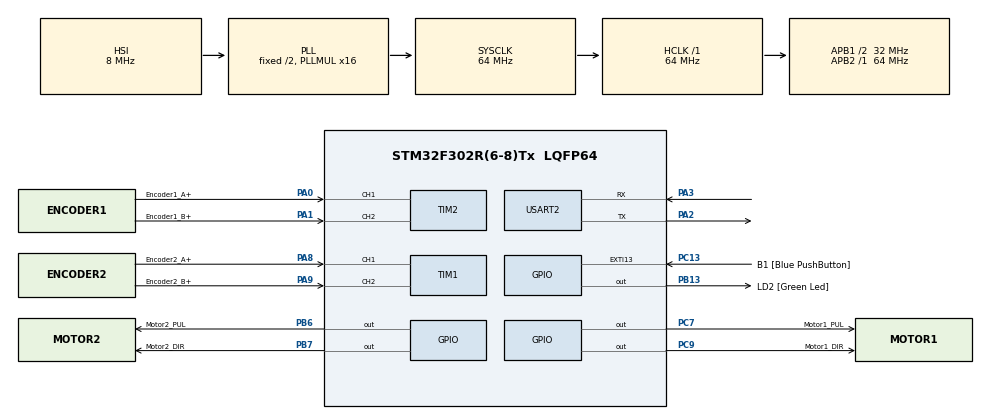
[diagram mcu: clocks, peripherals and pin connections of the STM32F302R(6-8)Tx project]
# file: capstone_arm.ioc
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Mcu.Family=STM32F3
Mcu.Name=STM32F302R(6-8)Tx
Mcu.Package=LQFP64
NVIC.PriorityGroup=NVIC_PRIORITYGROUP_0
NVIC.USART2_IRQn=true\:0\:0\:false\:false\:true\:true\:true\:true
PA0.GPIO_Label=Encoder1_A+
PA0.Signal=S_TIM2_CH1_ETR
PA1.GPIO_Label=Encoder1_B+
PA1.Signal=S_TIM2_CH2
PA13.GPIO_Label=TMS
PA13.Mode=Serial_Wire
PA13.Signal=SYS_JTMS-SWDIO
PA14.GPIO_Label=TCK
PA14.Mode=Serial_Wire
PA14.Signal=SYS_JTCK-SWCLK
PA2.Mode=Asynchronous
PA2.Signal=USART2_TX
PA3.Mode=Asynchronous
PA3.Signal=USART2_RX
PA8.GPIO_Label=Encoder2_A+
PA8.Signal=S_TIM1_CH1
PA9.GPIO_Label=Encoder2_B+
PA9.Signal=S_TIM1_CH2
PB13.GPIO_Label=LD2 [Green Led]
PB13.Signal=GPIO_Output
PB3.GPIO_Label=SWO
PB3.Mode=Trace_Asynchronous_SW
PB3.Signal=SYS_JTDO-TRACESWO
PB6.GPIO_Label=Motor2_PUL
PB6.Signal=GPIO_Output
PB7.GPIO_Label=Motor2_DIR
PB7.Signal=GPIO_Output
PC13.GPIO_Label=B1 [Blue PushButton]
PC13.GPIO_ModeDefaultEXTI=GPIO_MODE_IT_FALLING
PC13.Signal=GPXTI13
PC14\ -\ OSC32_IN.Mode=LSE-External-Oscillator
PC14\ -\ OSC32_IN.Signal=RCC_OSC32_IN
PC15\ -\ OSC32_OUT.Mode=LSE-External-Oscillator
PC15\ -\ OSC32_OUT.Signal=RCC_OSC32_OUT
PC7.GPIO_Label=Motor1_PUL
PC7.Signal=GPIO_Output
PC9.GPIO_Label=Motor1_DIR
PC9.Signal=GPIO_Output
PF0-OSC_IN.Mode=HSE-External-Clock-Source
PF0-OSC_IN.Signal=RCC_OSC_IN
PF1-OSC_OUT.Signal=RCC_OSC_OUT
ProjectManager.HeapSize=0x200
ProjectManager.StackSize=0x400
ProjectManager.TargetToolchain=STM32CubeIDE
RCC.AHBFreq_Value=64000000
RCC.APB1CLKDivider=RCC_HCLK_DIV2
RCC.APB1Freq_Value=32000000
RCC.APB1TimFreq_Value=64000000
RCC.APB2Freq_Value=64000000
RCC.APB2TimFreq_Value=64000000
RCC.CortexFreq_Value=64000000
RCC.HCLKFreq_Value=64000000
RCC.HSE_VALUE=8000000
RCC.HSI_VALUE=8000000
RCC.PLLM=8
RCC.PLLMUL=RCC_PLL_MUL16
RCC.PLLN=336
RCC.PLLP=RCC_PLLP_DIV4
RCC.PLLQ=7
RCC.RCC_PLLsource_Clock_Source_FROM_HSE=RCC_HSE_PREDIV_DIV2
RCC.SYSCLKFreq_VALUE=64000000
RCC.SYSCLKSourceVirtual=RCC_SYSCLKSOURCE_PLLCLK
RCC.USBFreq_Value=64000000
SH.S_TIM1_CH1.0=TIM1_CH1,Encoder_Interface
SH.S_TIM1_CH2.0=TIM1_CH2,Encoder_Interface
SH.S_TIM2_CH1_ETR.0=TIM2_CH1,Encoder_Interface
SH.S_TIM2_CH2.0=TIM2_CH2,Encoder_Interface
USART2.VirtualMode-Asynchronous=VM_ASYNC
board=NUCLEO-F302R8

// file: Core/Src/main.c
/* USER CODE BEGIN Header */
/**
  ******************************************************************************
  * @file           : main.c
  * @brief          : Main program body
  ******************************************************************************
  * @attention
  *
  * This firmware drives the stepper motor and reads the encoder via TIM2.
  *
  ******************************************************************************
  */
/* USER CODE END Header */
#include "main.h"

/* USER CODE BEGIN Includes */
#include <stdio.h>
#include <stdlib.h>
#include <string.h>
#include <math.h>
#include <stdbool.h>
/* USER CODE END Includes */

/* USER CODE BEGIN PTD */
#define CMD_QUEUE_SIZE 24
#define CMD_MAX_LENGTH 64
#define ENCODER_CPR 4000.0f  // Encoder: 1000 PPR * 4 (quadrature)
#define GEAR_RATIO 10.0f
#define COUNTS_PER_JOINT_REV (ENCODER_CPR * GEAR_RATIO)  // 4000 × 10 = 40000
#define DEGREES_PER_TURN 360.0f

typedef struct {
    char commands[CMD_QUEUE_SIZE][CMD_MAX_LENGTH];
    volatile int head;
    volatile int tail;
} CommandQueue;
/* USER CODE END PTD */

/* USER CODE BEGIN PD */
// set to 400 steps currently on motor driver, gear ratio is 20
#define STEPS_PER_REV 400 * 20
#define STEPS_PER_DEGREE (STEPS_PER_REV / 360.0f)
#define MIN_STEP_INTERVAL_US 10
#define MAX_STEP_INTERVAL_US 100000

/* USER CODE END PD */

/* USER CODE BEGIN PM */
// None
/* USER CODE END PM */

TIM_HandleTypeDef htim1;
TIM_HandleTypeDef htim2;

UART_HandleTypeDef huart2;

/* USER CODE BEGIN PV */
static int32_t motor1_stepsRemaining = 0;
static int32_t motor2_stepsRemaining = 0;

static float motor1_speedFactor = 1.0f;
static float motor2_speedFactor = 1.0f;

static uint32_t motor1_nextStepTime_us = 0;
static uint32_t motor2_nextStepTime_us = 0;

static GPIO_PinState motor1_direction = GPIO_PIN_SET;
static GPIO_PinState motor2_direction = GPIO_PIN_SET;

static bool motor1_resetting = false;
static bool motor2_resetting = false;

uint8_t rxChar;
static char commandBuffer[CMD_MAX_LENGTH];
static uint16_t commandIndex = 0;
CommandQueue cmdQueue = { .head = 0, .tail = 0 };
/* USER CODE END PV */

void SystemClock_Config(void);
static void MX_GPIO_Init(void);
static void MX_TIM2_Init(void);
static void MX_TIM1_Init(void);
static void MX_USART2_UART_Init(void);
/* USER CODE BEGIN PFP */
void DWT_Init(void);
static inline void delay_us(uint32_t us);
void readLine(char *line, size_t maxLen);
void parseCommand(const char *line);
int32_t getEncoderPos(uint8_t motorNum);
void doMotorStepping(void);

int32_t  getEncoderPos(uint8_t motorNum);
float    calculateAngle(int32_t counts);
void     parseCommand(const char *line);
void     doMotorStepping(void);
/* USER CODE END PFP */

/* USER CODE BEGIN 0 */
/**
  * @brief  Initialize the DWT cycle counter for microsecond delays.
  */
void DWT_Init(void)
{
  if (!(CoreDebug->DEMCR & CoreDebug_DEMCR_TRCENA_Msk))
  {
    CoreDebug->DEMCR |= CoreDebug_DEMCR_TRCENA_Msk;
  }
  DWT->CYCCNT = 0;
  DWT->CTRL |= DWT_CTRL_CYCCNTENA_Msk;
}

// BROKEN USING HAL_DELAY() INSTEAD FIX THIS IF NECESSARY
///**
//  * @brief  Provides a delay (in microseconds) using the DWT cycle counter.
//  * @param  us: Delay in microseconds.
//  */
void delay_us(uint32_t us)
{
    uint32_t start = DWT->CYCCNT;
    uint32_t ticks = us * (SystemCoreClock / 1000000);
    while ((DWT->CYCCNT - start) < ticks);
}

/**
 * @brief Get the current time in microseconds using DWT.
 * @return Current time in microseconds.
 */
uint32_t get_micros(void)
{
    return DWT->CYCCNT / (SystemCoreClock / 1000000);
}

int isQueueEmpty(CommandQueue *q) {
    return (q->head == q->tail);
}

int isQueueFull(CommandQueue *q) {
    return (((q->tail + 1) % CMD_QUEUE_SIZE) == q->head);
}

int flushQueue(CommandQueue *q)
{
    q->head = 0;
    q->tail = 0;
    return 0;
}

int enqueueCommand(CommandQueue *q, const char *cmd) {
    if (isQueueFull(q)) {
        return -1;
    }
    strncpy(q->commands[q->tail], cmd, CMD_MAX_LENGTH - 1);
    q->commands[q->tail][CMD_MAX_LENGTH - 1] = '\0';
    q->tail = (q->tail + 1) % CMD_QUEUE_SIZE;
    return 0;
}

int dequeueCommand(CommandQueue *q, char *cmd, size_t maxLen) {
    if (isQueueEmpty(q)) {
        return -1;
    }
    strncpy(cmd, q->commands[q->head], maxLen - 1);
    cmd[maxLen - 1] = '\0';
    q->head = (q->head + 1) % CMD_QUEUE_SIZE;
    return 0;
}

void HAL_UART_RxCpltCallback(UART_HandleTypeDef *huart)
{
    if (huart->Instance == USART2)
    {
        if ((rxChar == '\n') || (rxChar == '\r'))
        {
            commandBuffer[commandIndex] = '\0';
            if (commandIndex > 0)
            {
                if (enqueueCommand(&cmdQueue, commandBuffer) != 0)
                {
                    // TODO: handle full queue
                }
            }
            commandIndex = 0;
        }
        else
        {
            if (commandIndex < CMD_MAX_LENGTH - 1)
            {
                commandBuffer[commandIndex++] = rxChar;
            }
        }
        HAL_UART_Receive_IT(&huart2, &rxChar, 1);
    }
}

int main(void)
{
  HAL_Init();

  SystemClock_Config();
  DWT_Init();

  MX_GPIO_Init();
  MX_TIM2_Init();
  MX_TIM1_Init();
  MX_USART2_UART_Init();

  HAL_TIM_Encoder_Start(&htim2, TIM_CHANNEL_ALL);
  HAL_TIM_Encoder_Start(&htim1, TIM_CHANNEL_ALL);
  HAL_UART_Receive_IT(&huart2, &rxChar, 1);

  const char *haro = "\n###################################################\n*********** HELLO JOAQUIN, WELCOME BACK ***********\n###################################################\n";
  HAL_UART_Transmit(&huart2, (uint8_t*)haro, strlen(haro), 100);
  const char *initMsg = "(+) initialized, waiting for commands...\n";
  HAL_UART_Transmit(&huart2, (uint8_t*)initMsg, strlen(initMsg), 100);

  while (1)
  {
	char cmd[CMD_MAX_LENGTH];
	if (dequeueCommand(&cmdQueue, cmd, sizeof(cmd)) == 0) {
		char echoMsg[80];
		sprintf(echoMsg, "Received command: %s\n", cmd);
		HAL_UART_Transmit(&huart2, (uint8_t*)echoMsg, strlen(echoMsg), 100);
		parseCommand(cmd);
	}

	doMotorStepping();
    HAL_Delay(1);
  }
}

int32_t getEncoderPos(uint8_t motorNum)
{
    if (motorNum == 1)
        return (int32_t)__HAL_TIM_GET_COUNTER(&htim2);
    else if (motorNum == 2)
        return (int32_t)__HAL_TIM_GET_COUNTER(&htim1);
    return 0;
}

float calculateAngle(int32_t counts)
{
    float angle = ((float)counts / COUNTS_PER_JOINT_REV) * DEGREES_PER_TURN;
    if (angle >  180.0f) angle -= 360.0f;
    if (angle < -180.0f) angle += 360.0f;
    return angle;
}

void doMotorStepping(void)
{
	uint32_t now_us = get_micros();

    if (motor1_resetting)
    {
        int32_t pos = getEncoderPos(1);
        if (pos == 0)
        {
            motor1_resetting = false;
        }
        else if (now_us >= motor1_nextStepTime_us)
        {
            GPIO_PinState dir = (pos > 0) ? GPIO_PIN_RESET : GPIO_PIN_SET;
            HAL_GPIO_WritePin(Motor1_DIR_GPIO_Port, Motor1_DIR_Pin, dir);
            HAL_GPIO_WritePin(Motor1_PUL_GPIO_Port, Motor1_PUL_Pin, GPIO_PIN_SET);
            delay_us(10);  // 10 us pulse width
            HAL_GPIO_WritePin(Motor1_PUL_GPIO_Port, Motor1_PUL_Pin, GPIO_PIN_RESET);

            uint32_t interval_us = MAX_STEP_INTERVAL_US - (uint32_t)(motor1_speedFactor * (MAX_STEP_INTERVAL_US - MIN_STEP_INTERVAL_US));
            if (interval_us < MIN_STEP_INTERVAL_US) interval_us = MIN_STEP_INTERVAL_US;
            motor1_nextStepTime_us = now_us + interval_us;
        }
    }
    else if (motor1_stepsRemaining > 0 && now_us >= motor1_nextStepTime_us)
    {
        HAL_GPIO_WritePin(Motor1_DIR_GPIO_Port, Motor1_DIR_Pin, motor1_direction);
        HAL_GPIO_WritePin(Motor1_PUL_GPIO_Port, Motor1_PUL_Pin, GPIO_PIN_SET);
        delay_us(10);
        HAL_GPIO_WritePin(Motor1_PUL_GPIO_Port, Motor1_PUL_Pin, GPIO_PIN_RESET);

        motor1_stepsRemaining--;
        uint32_t interval_us = MAX_STEP_INTERVAL_US - (uint32_t)(motor1_speedFactor * (MAX_STEP_INTERVAL_US - MIN_STEP_INTERVAL_US));
        if (interval_us < MIN_STEP_INTERVAL_US) interval_us = MIN_STEP_INTERVAL_US;
        motor1_nextStepTime_us = now_us + interval_us;
    }

    if (motor2_resetting)
    {
        int32_t pos = getEncoderPos(2);
        if (pos == 0)
        {
            motor2_resetting = false;
        }
        else if (now_us >= motor2_nextStepTime_us)
        {
            GPIO_PinState dir = (pos > 0) ? GPIO_PIN_RESET : GPIO_PIN_SET;
            HAL_GPIO_WritePin(Motor2_DIR_GPIO_Port, Motor2_DIR_Pin, dir);
            HAL_GPIO_WritePin(Motor2_PUL_GPIO_Port, Motor2_PUL_Pin, GPIO_PIN_SET);
            delay_us(10);
            HAL_GPIO_WritePin(Motor2_PUL_GPIO_Port, Motor2_PUL_Pin, GPIO_PIN_RESET);

            uint32_t interval_us = MAX_STEP_INTERVAL_US - (uint32_t)(motor2_speedFactor * (MAX_STEP_INTERVAL_US - MIN_STEP_INTERVAL_US));
            if (interval_us < MIN_STEP_INTERVAL_US) interval_us = MIN_STEP_INTERVAL_US;
            motor2_nextStepTime_us = now_us + interval_us;
        }
    }
    else if (motor2_stepsRemaining > 0 && now_us >= motor2_nextStepTime_us)
    {
        HAL_GPIO_WritePin(Motor2_DIR_GPIO_Port, Motor2_DIR_Pin, motor2_direction);
        HAL_GPIO_WritePin(Motor2_PUL_GPIO_Port, Motor2_PUL_Pin, GPIO_PIN_SET);
        delay_us(10);
        HAL_GPIO_WritePin(Motor2_PUL_GPIO_Port, Motor2_PUL_Pin, GPIO_PIN_RESET);

        motor2_stepsRemaining--;
        uint32_t interval_us = MAX_STEP_INTERVAL_US - (uint32_t)(motor2_speedFactor * (MAX_STEP_INTERVAL_US - MIN_STEP_INTERVAL_US));
        if (interval_us < MIN_STEP_INTERVAL_US) interval_us = MIN_STEP_INTERVAL_US;
        motor2_nextStepTime_us = now_us + interval_us;
    }
}

void parseCommand(const char *line)
{
    char resp[80];
    // Combined form: D:M1:100:1.0;M2:200:0.5
    if (line[0]=='D' && line[1]==':')
    {
        char buf[CMD_MAX_LENGTH];
        strncpy(buf, line+2, CMD_MAX_LENGTH-1);
        buf[CMD_MAX_LENGTH-1] = '\0';
        char *tok = strtok(buf, ";");
        while (tok) {
            parseCommand(tok);
            tok = strtok(NULL, ";");
        }
        return;
    }
    else if (line[0] == 'M')
    {
        uint8_t motorNum = line[1] - '0';

        char *colon1 = strchr(line, ':');
        if (!colon1)
        {
            const char *err = "ERR: no colon found\n";
            HAL_UART_Transmit(&huart2, (uint8_t*)err, strlen(err), 100);
            return;
        }
        char *colon2 = strchr(colon1 + 1, ':');
        if (!colon2)
        {
            const char *err = "ERR: second colon not found\n";
            HAL_UART_Transmit(&huart2, (uint8_t*)err, strlen(err), 100);
            return;
        }

        int32_t stepsInput = strtol(colon1 + 1, NULL, 10);
        float speedVal = strtof(colon2 + 1, NULL);

        if (speedVal > 1.0f) speedVal = 1.0f;
        if (speedVal < 0.0f) speedVal = 0.0f;

        GPIO_PinState dir = (stepsInput >= 0) ? GPIO_PIN_SET : GPIO_PIN_RESET;
        int32_t absSteps = (stepsInput >= 0) ? stepsInput : -stepsInput;
        float speedFactor = fabsf(speedVal);

        if (motorNum == 1)
        {
            motor1_stepsRemaining = absSteps;
            motor1_direction = dir;
            motor1_speedFactor = speedFactor;
            sprintf(resp, "Command: M1 => %ld steps, dir=%s, speed=%.2f\n",
                    (long)absSteps, (dir == GPIO_PIN_SET) ? "fwd" : "rev", speedFactor);
            HAL_UART_Transmit(&huart2, (uint8_t*)resp, strlen(resp), 100);
        }
        else if (motorNum == 2)
        {
            motor2_stepsRemaining = absSteps;
            motor2_direction = dir;
            motor2_speedFactor = speedFactor;
            sprintf(resp, "Command: M2 => %ld steps, dir=%s, speed=%.2f\n",
                    (long)absSteps, (dir == GPIO_PIN_SET) ? "fwd" : "rev", speedFactor);
            HAL_UART_Transmit(&huart2, (uint8_t*)resp, strlen(resp), 100);
        }
        else
        {
            const char *err2 = "ERR: motorNum invalid\n";
            HAL_UART_Transmit(&huart2, (uint8_t*)err2, strlen(err2), 100);
        }
    }
    else if (line[0] == 'H')
    {
        flushQueue(&cmdQueue);
        motor1_stepsRemaining = 0;
        motor2_stepsRemaining = 0;
        motor1_resetting = false;
        motor2_resetting = false;
        const char *msg = "Command queue cleared and motors stopped\n";
        HAL_UART_Transmit(&huart2, (uint8_t*)msg, strlen(msg), 100);
    }
    else if (strncmp(line, "GET:E:", 6) == 0)
    {
        uint8_t motorNum = 0;
        sscanf(line, "GET:E:%hhu", &motorNum);
        int32_t pos = getEncoderPos(motorNum);
        float angle = calculateAngle(pos);
        sprintf(resp, "E:%u:Steps=%ld, Angle=%.2f deg\n", motorNum, pos, angle);
        HAL_UART_Transmit(&huart2, (uint8_t*)resp, strlen(resp), 100);
    }
    else if (strncmp(line, "RESET:", 6) == 0)
    {
        uint8_t motorNum = line[6] - '0';
        if (motorNum == 1)
        {
            motor1_resetting = true;
            motor1_speedFactor = 1.0f;
            sprintf(resp, "Resetting motor 1 to zero position\n");
            HAL_UART_Transmit(&huart2, (uint8_t*)resp, strlen(resp), 100);
        }
        else if (motorNum == 2)
        {
            motor2_resetting = true;
            motor2_speedFactor = 1.0f;
            sprintf(resp, "Resetting motor 2 to zero position\n");
            HAL_UART_Transmit(&huart2, (uint8_t*)resp, strlen(resp), 100);
        }
        else
        {
            const char *err = "ERR: Invalid motor number for RESET\n";
            HAL_UART_Transmit(&huart2, (uint8_t*)err, strlen(err), 100);
        }
    }
    else
    {
        char dbgMsg[CMD_MAX_LENGTH + 30];
        sprintf(dbgMsg, "ERR: Unknown command: '%s'\n", line);
        HAL_UART_Transmit(&huart2, (uint8_t*)dbgMsg, strlen(dbgMsg), 100);
    }
}

void SystemClock_Config(void)
{
  RCC_OscInitTypeDef RCC_OscInitStruct = {0};
  RCC_ClkInitTypeDef RCC_ClkInitStruct = {0};
  RCC_PeriphCLKInitTypeDef PeriphClkInit = {0};

  RCC_OscInitStruct.OscillatorType = RCC_OSCILLATORTYPE_HSI;
  RCC_OscInitStruct.HSIState = RCC_HSI_ON;
  RCC_OscInitStruct.HSICalibrationValue = RCC_HSICALIBRATION_DEFAULT;
  RCC_OscInitStruct.PLL.PLLState = RCC_PLL_ON;
  RCC_OscInitStruct.PLL.PLLSource = RCC_PLLSOURCE_HSI;
  RCC_OscInitStruct.PLL.PLLMUL = RCC_PLL_MUL16;
  if (HAL_RCC_OscConfig(&RCC_OscInitStruct) != HAL_OK)
  {
    Error_Handler();
  }

  RCC_ClkInitStruct.ClockType = RCC_CLOCKTYPE_HCLK|RCC_CLOCKTYPE_SYSCLK
                              |RCC_CLOCKTYPE_PCLK1|RCC_CLOCKTYPE_PCLK2;
  RCC_ClkInitStruct.SYSCLKSource = RCC_SYSCLKSOURCE_PLLCLK;
  RCC_ClkInitStruct.AHBCLKDivider = RCC_SYSCLK_DIV1;
  RCC_ClkInitStruct.APB1CLKDivider = RCC_HCLK_DIV2;
  RCC_ClkInitStruct.APB2CLKDivider = RCC_HCLK_DIV1;

  if (HAL_RCC_ClockConfig(&RCC_ClkInitStruct, FLASH_LATENCY_2) != HAL_OK)
  {
    Error_Handler();
  }
  PeriphClkInit.PeriphClockSelection = RCC_PERIPHCLK_TIM1;
  PeriphClkInit.Tim1ClockSelection = RCC_TIM1CLK_HCLK;
  if (HAL_RCCEx_PeriphCLKConfig(&PeriphClkInit) != HAL_OK)
  {
    Error_Handler();
  }
}

static void MX_TIM1_Init(void)
{

  TIM_Encoder_InitTypeDef sConfig = {0};
  TIM_MasterConfigTypeDef sMasterConfig = {0};

  htim1.Instance = TIM1;
  htim1.Init.Prescaler = 0;
  htim1.Init.CounterMode = TIM_COUNTERMODE_UP;
  htim1.Init.Period = 65535;
  htim1.Init.ClockDivision = TIM_CLOCKDIVISION_DIV1;
  htim1.Init.RepetitionCounter = 0;
  htim1.Init.AutoReloadPreload = TIM_AUTORELOAD_PRELOAD_DISABLE;
  sConfig.EncoderMode = TIM_ENCODERMODE_TI1;
  sConfig.IC1Polarity = TIM_ICPOLARITY_RISING;
  sConfig.IC1Selection = TIM_ICSELECTION_DIRECTTI;
  sConfig.IC1Prescaler = TIM_ICPSC_DIV1;
  sConfig.IC1Filter = 0;
  sConfig.IC2Polarity = TIM_ICPOLARITY_RISING;
  sConfig.IC2Selection = TIM_ICSELECTION_DIRECTTI;
  sConfig.IC2Prescaler = TIM_ICPSC_DIV1;
  sConfig.IC2Filter = 0;
  if (HAL_TIM_Encoder_Init(&htim1, &sConfig) != HAL_OK)
  {
    Error_Handler();
  }
  sMasterConfig.MasterOutputTrigger = TIM_TRGO_RESET;
  sMasterConfig.MasterOutputTrigger2 = TIM_TRGO2_RESET;
  sMasterConfig.MasterSlaveMode = TIM_MASTERSLAVEMODE_DISABLE;
  if (HAL_TIMEx_MasterConfigSynchronization(&htim1, &sMasterConfig) != HAL_OK)
  {
    Error_Handler();
  }
}

static void MX_TIM2_Init(void)
{
  TIM_Encoder_InitTypeDef sConfig = {0};
  TIM_MasterConfigTypeDef sMasterConfig = {0};

  htim2.Instance = TIM2;
  htim2.Init.Prescaler = 0;
  htim2.Init.CounterMode = TIM_COUNTERMODE_UP;
  htim2.Init.Period = 4294967295;
  htim2.Init.ClockDivision = TIM_CLOCKDIVISION_DIV1;
  htim2.Init.AutoReloadPreload = TIM_AUTORELOAD_PRELOAD_DISABLE;
  sConfig.EncoderMode = TIM_ENCODERMODE_TI1;
  sConfig.IC1Polarity = TIM_ICPOLARITY_RISING;
  sConfig.IC1Selection = TIM_ICSELECTION_DIRECTTI;
  sConfig.IC1Prescaler = TIM_ICPSC_DIV1;
  sConfig.IC1Filter = 0;
  sConfig.IC2Polarity = TIM_ICPOLARITY_RISING;
  sConfig.IC2Selection = TIM_ICSELECTION_DIRECTTI;
  sConfig.IC2Prescaler = TIM_ICPSC_DIV1;
  sConfig.IC2Filter = 0;
  if (HAL_TIM_Encoder_Init(&htim2, &sConfig) != HAL_OK)
  {
    Error_Handler();
  }
  sMasterConfig.MasterOutputTrigger = TIM_TRGO_RESET;
  sMasterConfig.MasterSlaveMode = TIM_MASTERSLAVEMODE_DISABLE;
  if (HAL_TIMEx_MasterConfigSynchronization(&htim2, &sMasterConfig) != HAL_OK)
  {
    Error_Handler();
  }
}

static void MX_USART2_UART_Init(void)
{
  huart2.Instance = USART2;
  huart2.Init.BaudRate = 115200;
  huart2.Init.WordLength = UART_WORDLENGTH_8B;
  huart2.Init.StopBits = UART_STOPBITS_1;
  huart2.Init.Parity = UART_PARITY_NONE;
  huart2.Init.Mode = UART_MODE_TX_RX;
  huart2.Init.HwFlowCtl = UART_HWCONTROL_NONE;
  huart2.Init.OverSampling = UART_OVERSAMPLING_16;
  huart2.Init.OneBitSampling = UART_ONE_BIT_SAMPLE_DISABLE;
  huart2.AdvancedInit.AdvFeatureInit = UART_ADVFEATURE_NO_INIT;
  if (HAL_UART_Init(&huart2) != HAL_OK)
  {
    Error_Handler();
  }
}

static void MX_GPIO_Init(void)
{
  GPIO_InitTypeDef GPIO_InitStruct = {0};

  __HAL_RCC_GPIOC_CLK_ENABLE();
  __HAL_RCC_GPIOF_CLK_ENABLE();
  __HAL_RCC_GPIOA_CLK_ENABLE();
  __HAL_RCC_GPIOB_CLK_ENABLE();

  HAL_GPIO_WritePin(GPIOB, LD2_Pin|Motor2_PUL_Pin|Motor2_DIR_Pin, GPIO_PIN_RESET);

  HAL_GPIO_WritePin(GPIOC, Motor1_PUL_Pin|Motor1_DIR_Pin, GPIO_PIN_RESET);

  GPIO_InitStruct.Pin = B1_Pin;
  GPIO_InitStruct.Mode = GPIO_MODE_IT_FALLING;
  GPIO_InitStruct.Pull = GPIO_NOPULL;
  HAL_GPIO_Init(B1_GPIO_Port, &GPIO_InitStruct);

  GPIO_InitStruct.Pin = LD2_Pin|Motor2_PUL_Pin|Motor2_DIR_Pin;
  GPIO_InitStruct.Mode = GPIO_MODE_OUTPUT_PP;
  GPIO_InitStruct.Pull = GPIO_NOPULL;
  GPIO_InitStruct.Speed = GPIO_SPEED_FREQ_LOW;
  HAL_GPIO_Init(GPIOB, &GPIO_InitStruct);

  GPIO_InitStruct.Pin = Motor1_PUL_Pin|Motor1_DIR_Pin;
  GPIO_InitStruct.Mode = GPIO_MODE_OUTPUT_PP;
  GPIO_InitStruct.Pull = GPIO_NOPULL;
  GPIO_InitStruct.Speed = GPIO_SPEED_FREQ_LOW;
  HAL_GPIO_Init(GPIOC, &GPIO_InitStruct);
}

void Error_Handler(void)
{
  __disable_irq();
  while (1)
  {
  }
}
